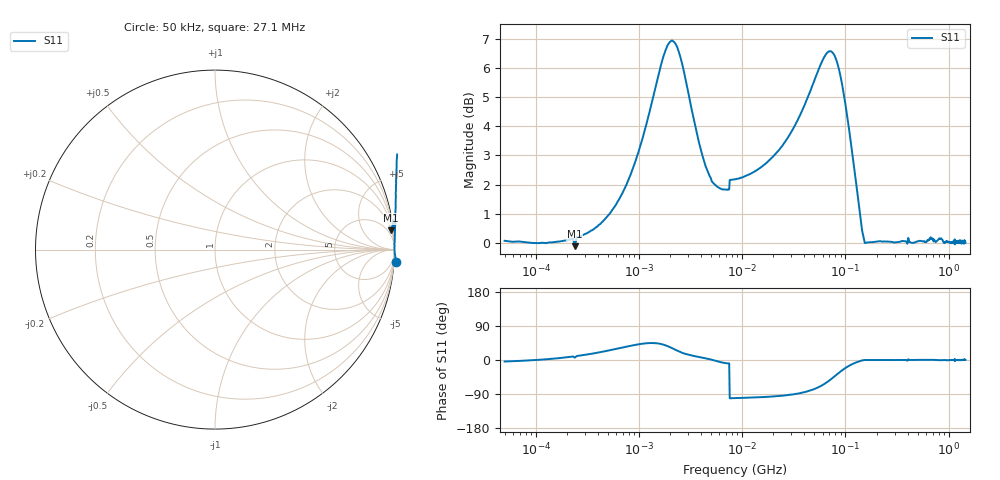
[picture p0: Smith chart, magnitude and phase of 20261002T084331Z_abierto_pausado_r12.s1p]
! piloto_saltos / abierto_pausado / r12
# HZ S RI R 50
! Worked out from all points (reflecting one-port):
!   501 points, 50 kHz to 1.45 GHz, reference 50 ohm
!   lowest |S11| = -0.1 dB at 240 kHz (marker M1), VSWR 161.44, Z = 104 + j909 ohm
!   phase of S11 starts at -4 deg and turns +4 deg over the sweep
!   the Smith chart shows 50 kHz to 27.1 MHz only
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50000  1.006 -0.0697
183000  1.003 0.105
240000  0.9819 0.107
658000  1.021 0.6273
1180000  1.146 1.112
1630000  1.489 1.355
1990000  1.827 1.24
2440000  1.957 0.8178
2890000  1.805 0.4921
3430000  1.588 0.2943
4870000  1.298 0.0438
7300000  1.219 -0.1942
7750000  -0.2403 -1.26
8560000  -0.2348 -1.264
1.81e7  -0.1688 -1.373
3.16e7  -0.0114 -1.577
4.69e7  0.3385 -1.813
5.68e7  0.6993 -1.885
6.49e7  1.045 -1.828
7.39e7  1.398 -1.598
8.65e7  1.651 -1.1
9.82e7  1.626 -0.6748
1e8  1.611 -0.6197
1.18e8  1.377 -0.2437
1.36e8  1.148 -0.0697
1.63e8  1.002 -0.000389
4.06e8  1.02 0.0331
1.45e9  1.002 0.00417
